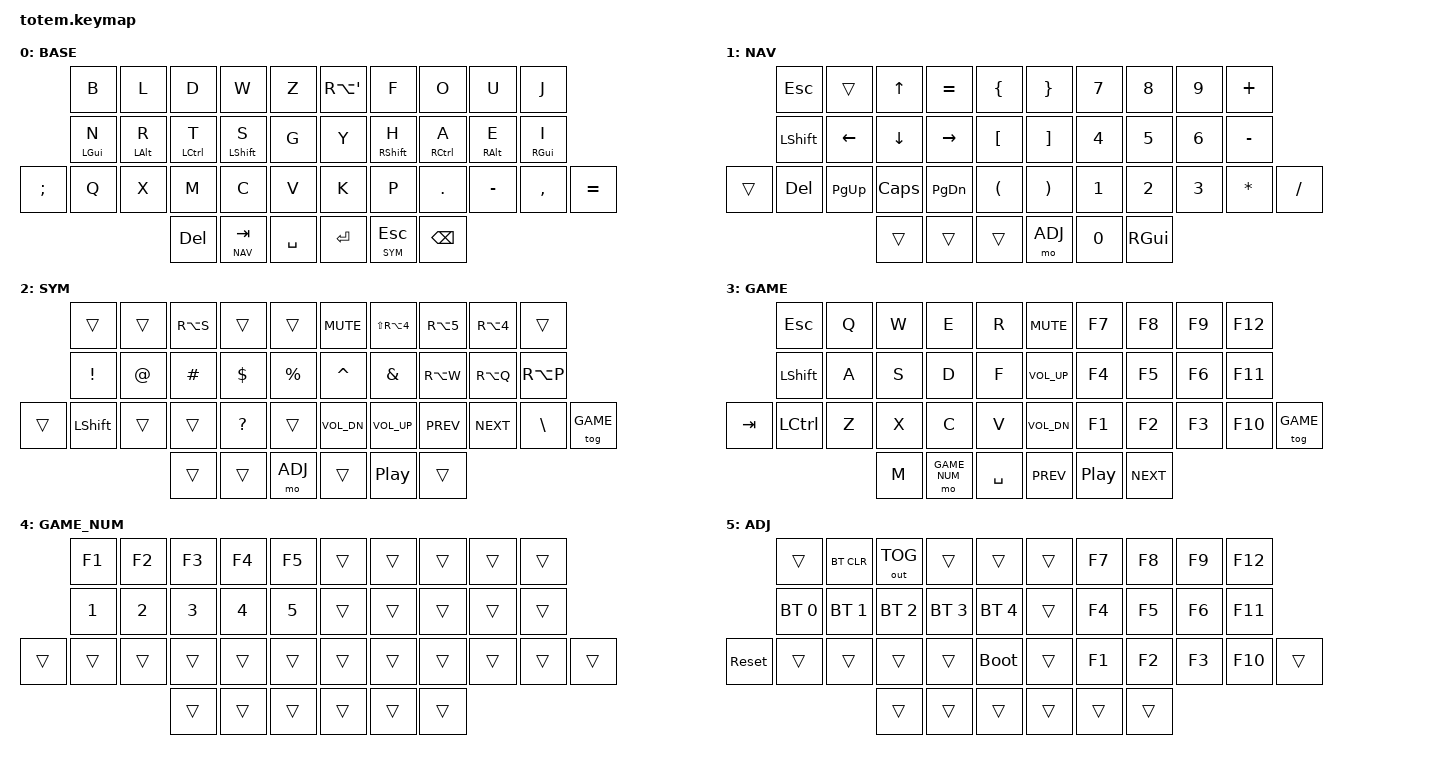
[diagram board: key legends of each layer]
//
//                                                        ▀▀▀▀▀     ▀▀▀▀▀          ▀▀█▀▀
//                                                        ▄▀▀▀▄  ▄  ▄▀▀▀▄  ▄  ▄▀▀▀▄  █  ▄▀▀▀▄
//                                                        █   █  █  █   █  █  █   █  █  █   █
//                                                         ▀▀▀   █   ▀▀▀   █   ▀▀▀   ▀   ▀▀▀
//                                                               █      ▄▄▄█▄▄▄    █   █  
//                                                               ▀      █  █  █     █▄█
//                                                             ▀▀▀▀▀    █  █  █      ▀
//                                                                      ▀  ▀  ▀
//
// ▄▄▄▄▄▄▄▄▄▄▄▄▄▄▄▄▄▄▄▄▄▄▄▄▄▄▄▄▄▄▄▄▄▄▄▄▄▄▄▄▄▄▄▄▄▄▄▄▄▄▄▄▄▄▄▄▄▄▄▄▄▄▄▄▄▄▄▄▄▄▄▄▄▄▄▄▄▄▄▄▄▄▄▄▄▄▄▄▄▄▄▄▄▄▄▄▄▄▄▄▄▄▄▄▄▄▄▄▄▄▄▄▄▄▄▄▄▄▄▄▄▄▄▄▄▄▄▄▄▄▄▄▄▄▄▄▄▄▄▄▄▄▄▄▄▄▄▄▄
       

#include <behaviors.dtsi>
#include <dt-bindings/zmk/keys.h>
#include <dt-bindings/zmk/bt.h>
#include <dt-bindings/zmk/outputs.h>

#define BASE 0
#define NAV  1
#define SYM  2
#define GAME 3
#define GAME_NUM 4
#define ADJ  5

&mt {
    quick-tap-ms = <100>;
    global-quick-tap;
    flavor = "tap-preferred";
    tapping-term-ms = <170>;
};

/ {
        keymap {
                compatible = "zmk,keymap";
// ▄▄▄▄▄▄▄▄▄▄▄▄▄▄▄▄▄▄▄▄▄▄▄▄▄▄▄▄▄▄▄▄▄▄▄▄▄▄▄▄▄▄▄▄▄▄▄▄▄▄▄▄▄▄▄▄▄▄▄▄▄▄▄▄▄▄▄▄▄▄▄▄▄▄▄▄▄▄▄▄▄▄▄▄▄▄▄▄▄▄▄▄▄▄▄▄▄▄▄▄▄▄▄▄▄▄▄▄▄▄▄▄▄▄▄▄▄▄▄▄▄▄▄▄▄▄▄▄▄▄▄▄▄▄▄▄▄▄▄▄▄▄▄▄▄▄▄▄▄

                base_layer {
                    // ┏━━━━━━━━━━━━━━━━━━━━━━━━━━━━━━━━━━━━━━━┓
                    display-name= "BASE";
                    // ┗━━━━━━━━━━━━━━━━━━━━━━━━━━━━━━━━━━━━━━━┛
/*
              ┏━━━━━━━━━━━┳━━━━━━━━━━━┳━━━━━━━━━━━┳━━━━━━━━━━━┳━━━━━━━━━━━┓   ┏━━━━━━━━━━━┳━━━━━━━━━━━┳━━━━━━━━━━━┳━━━━━━━━━━━┳━━━━━━━━━━━┓
              ┃     b     ┃     l     ┃     d     ┃     w     ┃    z      ┃   ┃   ' (")   ┃     f     ┃     o     ┃     u     ┃     j     ┃
              ┣━━━━━━━━━━━╋━━━━━━━━━━━╋━━━━━━━━━━━╋━━━━━━━━━━━╋━━━━━━━━━━━┫   ┣━━━━━━━━━━━╋━━━━━━━━━━━╋━━━━━━━━━━━╋━━━━━━━━━━━╋━━━━━━━━━━━┫
              ┃     n     ┃     r     ┃     t     ┃     s     ┃    g      ┃   ┃     y     ┃     h     ┃     a     ┃     e     ┃     i     ┃
  ┏━━━━━━━━━━━╋━━━━━━━━━━━╋━━━━━━━━━━━╋━━━━━━━━━━━╋━━━━━━━━━━━╋━━━━━━━━━━━┫   ┣━━━━━━━━━━━╋━━━━━━━━━━━╋━━━━━━━━━━━╋━━━━━━━━━━━╋━━━━━━━━━━━╋━━━━━━━━━━━┓
  ┃           ┃     q     ┃     x     ┃     m     ┃     c     ┃    v      ┃   ┃     k     ┃     p     ┃   . (>)   ┃   - (_)   ┃  , (<)    ┃     =     ┃
  ┗━━━━━━━━━━━┻━━━━━━━━━━━┻━━━━━━━━━━━╋━━━━━━━━━━━╋━━━━━━━━━━━╋━━━━━━━━━━━┫   ┣━━━━━━━━━━━╋━━━━━━━━━━━╋━━━━━━━━━━━╋━━━━━━━━━━━┻━━━━━━━━━━━┻━━━━━━━━━━━┛
                                      ┃           ┃           ┃           ┃   ┃           ┃           ┃           ┃
                                      ┗━━━━━━━━━━━┻━━━━━━━━━━━┻━━━━━━━━━━━┛   ┗━━━━━━━━━━━┻━━━━━━━━━━━┻━━━━━━━━━━━┛
*/
 bindings = <
// ╷           ╷           ╷           ╷           ╷           ╷           ╷   ╷           ╷           ╷           ╷           ╷           ╷           ╷

                &kp B       &kp L       &kp D       &kp W       &kp Z           &kp RA(SQT) &kp F       &kp O       &kp U       &kp J
                &mt LGUI N  &mt LALT R  &mt LCTRL T &mt LSHFT S &kp G           &kp Y       &mt RSHFT H &mt RCTRL A &mt RALT E  &mt RGUI I
  &kp SEMICOLON &kp Q       &kp X       &kp M       &kp C       &kp V           &kp K       &kp P       &kp DOT     &kp MINUS   &kp COMMA    &kp EQUAL
                                        &kp DEL   &lt NAV TAB   &kp SPACE       &kp RET     &lt SYM ESC &kp BSPC
                        >;
                };

// ▄▄▄▄▄▄▄▄▄▄▄▄▄▄▄▄▄▄▄▄▄▄▄▄▄▄▄▄▄▄▄▄▄▄▄▄▄▄▄▄▄▄▄▄▄▄▄▄▄▄▄▄▄▄▄▄▄▄▄▄▄▄▄▄▄▄▄▄▄▄▄▄▄▄▄▄▄▄▄▄▄▄▄▄▄▄▄▄▄▄▄▄▄▄▄▄▄▄▄▄▄▄▄▄▄▄▄▄▄▄▄▄▄▄▄▄▄▄▄▄▄▄▄▄▄▄▄▄▄▄▄▄▄▄▄▄▄▄▄▄▄▄▄▄▄▄▄▄▄

                nav_layer {
                    // ┏━━━━━━━━━━━━━━━━━━━━━━━━━━━━━━━━━━━━━━━┓
                    display-name= "NAV";
                    // ┗━━━━━━━━━━━━━━━━━━━━━━━━━━━━━━━━━━━━━━━┛
//             ┏━━━━━━━━━━━┳━━━━━━━━━━━┳━━━━━━━━━━━┳━━━━━━━━━━━┳━━━━━━━━━━━┓   ┏━━━━━━━━━━━┳━━━━━━━━━━━┳━━━━━━━━━━━┳━━━━━━━━━━━┳━━━━━━━━━━━┓
//             ┃           ┃           ┃     UP    ┃     =     ┃     {     ┃   ┃     }     ┃     7     ┃     8     ┃     9     ┃     +     ┃
//             ┣━━━━━━━━━━━╋━━━━━━━━━━━╋━━━━━━━━━━━╋━━━━━━━━━━━╋━━━━━━━━━━━┫   ┣━━━━━━━━━━━╋━━━━━━━━━━━╋━━━━━━━━━━━╋━━━━━━━━━━━╋━━━━━━━━━━━┫
//             ┃   SHIFT   ┃   LEFT    ┃    DOWN   ┃   RIGHT   ┃     [     ┃   ┃     ]     ┃     4     ┃     5     ┃     6     ┃     -     ┃
// ┏━━━━━━━━━━━╋━━━━━━━━━━━╋━━━━━━━━━━━╋━━━━━━━━━━━╋━━━━━━━━━━━╋━━━━━━━━━━━┫   ┣━━━━━━━━━━━╋━━━━━━━━━━━╋━━━━━━━━━━━╋━━━━━━━━━━━╋━━━━━━━━━━━╋━━━━━━━━━━━┓
// ┃           ┃           ┃   P UP    ┃  C LOCK   ┃  P DOWN   ┃     (     ┃   ┃     )     ┃     1     ┃     2     ┃     3     ┃     *     ┃     /     ┃
// ┗━━━━━━━━━━━┻━━━━━━━━━━━┻━━━━━━━━━━━╋━━━━━━━━━━━╋━━━━━━━━━━━╋━━━━━━━━━━━┫   ┣━━━━━━━━━━━╋━━━━━━━━━━━╋━━━━━━━━━━━╋━━━━━━━━━━━┻━━━━━━━━━━━┻━━━━━━━━━━━┛
//                                     ┃           ┃    TAB    ┃    SPC    ┃   ┃    DEL    ┃     0     ┃   super   ┃
//                                     ┗━━━━━━━━━━━┻━━━━━━━━━━━┻━━━━━━━━━━━┛   ┗━━━━━━━━━━━┻━━━━━━━━━━━┻━━━━━━━━━━━┛
 bindings = <
// ╷           ╷           ╷           ╷           ╷           ╷           ╷   ╷           ╷           ╷           ╷           ╷           ╷           ╷

                &kp ESC     &trans      &kp UP      &kp EQUAL   &kp LBRC        &kp RBRC    &kp N7   &kp N8   &kp N9   &kp PLUS
                &kp LSHFT   &kp LEFT    &kp DOWN    &kp RIGHT   &kp LBKT        &kp RBKT    &kp N4   &kp N5   &kp N6   &kp MINUS
    &trans      &kp DEL     &kp PG_UP   &kp CAPS    &kp PG_DN   &kp LPAR        &kp RPAR    &kp N1   &kp N2   &kp N3   &kp STAR      &kp FSLH      
                                        &trans      &trans      &trans          &mo ADJ     &kp N0   &kp RGUI      
                        >;
                };

// ▄▄▄▄▄▄▄▄▄▄▄▄▄▄▄▄▄▄▄▄▄▄▄▄▄▄▄▄▄▄▄▄▄▄▄▄▄▄▄▄▄▄▄▄▄▄▄▄▄▄▄▄▄▄▄▄▄▄▄▄▄▄▄▄▄▄▄▄▄▄▄▄▄▄▄▄▄▄▄▄▄▄▄▄▄▄▄▄▄▄▄▄▄▄▄▄▄▄▄▄▄▄▄▄▄▄▄▄▄▄▄▄▄▄▄▄▄▄▄▄▄▄▄▄▄▄▄▄▄▄▄▄▄▄▄▄▄▄▄▄▄▄▄▄▄▄▄▄▄

                sim_layer {
                    // ┏━━━━━━━━━━━━━━━━━━━━━━━━━━━━━━━━━━━━━━━┓
                    display-name= "SYM";
                    // ┗━━━━━━━━━━━━━━━━━━━━━━━━━━━━━━━━━━━━━━━┛
//             ┏━━━━━━━━━━━┳━━━━━━━━━━━┳━━━━━━━━━━━┳━━━━━━━━━━━┳━━━━━━━━━━━┓   ┏━━━━━━━━━━━┳━━━━━━━━━━━┳━━━━━━━━━━━┳━━━━━━━━━━━┳━━━━━━━━━━━┓
//             ┃           ┃           ┃    SZ     ┃           ┃           ┃   ┃   MUTE    ┃   YEN     ┃   EURO    ┃  POUND    ┃           ┃
//             ┣━━━━━━━━━━━╋━━━━━━━━━━━╋━━━━━━━━━━━╋━━━━━━━━━━━╋━━━━━━━━━━━┫   ┣━━━━━━━━━━━╋━━━━━━━━━━━╋━━━━━━━━━━━╋━━━━━━━━━━━╋━━━━━━━━━━━┫
//             ┃     !     ┃     @     ┃     #     ┃     $     ┃     %     ┃   ┃     ˆ     ┃     &     ┃     Å     ┃     Ä     ┃     Ö     ┃
// ┏━━━━━━━━━━━╋━━━━━━━━━━━╋━━━━━━━━━━━╋━━━━━━━━━━━╋━━━━━━━━━━━╋━━━━━━━━━━━┫   ┣━━━━━━━━━━━╋━━━━━━━━━━━╋━━━━━━━━━━━╋━━━━━━━━━━━╋━━━━━━━━━━━╋━━━━━━━━━━━┓
// ┃           ┃  EMAIL1   ┃  EMAIL2   ┃           ┃     ?     ┃           ┃   ┃   VOL-    ┃   VOL+    ┃   LAST    ┃   NEXT    ┃     \     ┃           ┃
// ┗━━━━━━━━━━━┻━━━━━━━━━━━┻━━━━━━━━━━━╋━━━━━━━━━━━╋━━━━━━━━━━━╋━━━━━━━━━━━┫   ┣━━━━━━━━━━━╋━━━━━━━━━━━╋━━━━━━━━━━━╋━━━━━━━━━━━┻━━━━━━━━━━━┻━━━━━━━━━━━┛
//                                     ┃           ┃           ┃    ADJ    ┃   ┃           ┃           ┃           ┃
//                                     ┗━━━━━━━━━━━┻━━━━━━━━━━━┻━━━━━━━━━━━┛   ┗━━━━━━━━━━━┻━━━━━━━━━━━┻━━━━━━━━━━━┛
 bindings = <
// ╷           ╷           ╷           ╷           ╷           ╷           ╷   ╷           ╷           ╷           ╷           ╷           ╷           ╷
                &trans      &trans      &kp RA(S)   &trans      &trans          &kp C_MUTE   &kp LS(RA(N4)) &kp RA(N5) &kp RA(N4) &trans 
                &kp EXCL    &kp AT      &kp HASH    &kp DLLR    &kp PRCNT       &kp CARET    &kp AMPS     &kp RA(W)  &kp RA(Q)   &kp RA(P)       
    &trans      &kp LSHFT   &trans      &trans      &kp QMARK   &trans          &kp C_VOL_DN &kp C_VOL_UP &kp C_PREV &kp C_NEXT  &kp BSLH   &tog GAME         
                                        &trans      &trans      &mo ADJ         &trans      &kp C_PP    &trans      
                        >;
                };

// ▄▄▄▄▄▄▄▄▄▄▄▄▄▄▄▄▄▄▄▄▄▄▄▄▄▄▄▄▄▄▄▄▄▄▄▄▄▄▄▄▄▄▄▄▄▄▄▄▄▄▄▄▄▄▄▄▄▄▄▄▄▄▄▄▄▄▄▄▄▄▄▄▄▄▄▄▄▄▄▄▄▄▄▄▄▄▄▄▄▄▄▄▄▄▄▄▄▄▄▄▄▄▄▄▄▄▄▄▄▄▄▄▄▄▄▄▄▄▄▄▄▄▄▄▄▄▄▄▄▄▄▄▄▄▄▄▄▄▄▄▄▄▄▄▄▄▄▄▄

                game_layer {
                    // ┏━━━━━━━━━━━━━━━━━━━━━━━━━━━━━━━━━━━━━━━┓
                    display-name= "GAME";
                    // ┗━━━━━━━━━━━━━━━━━━━━━━━━━━━━━━━━━━━━━━━┛
 bindings = <
// ╷           ╷           ╷           ╷           ╷           ╷           ╷   ╷           ╷           ╷           ╷           ╷           ╷           ╷

                &kp ESC     &kp Q       &kp W       &kp E       &kp R           &kp C_MUTE   &kp F7      &kp F8      &kp F9      &kp F12
                &kp LSHFT   &kp A       &kp S       &kp D       &kp F           &kp C_VOL_UP &kp F4      &kp F5      &kp F6      &kp F11
    &kp TAB     &kp LCTRL   &kp Z       &kp X       &kp C       &kp V           &kp C_VOL_DN &kp F1      &kp F2      &kp F3      &kp F10     &tog GAME      
                                        &kp M      &mo GAME_NUM &kp SPACE       &kp C_PREV   &kp C_PP    &kp C_NEXT      
                        >;
                };

// ▄▄▄▄▄▄▄▄▄▄▄▄▄▄▄▄▄▄▄▄▄▄▄▄▄▄▄▄▄▄▄▄▄▄▄▄▄▄▄▄▄▄▄▄▄▄▄▄▄▄▄▄▄▄▄▄▄▄▄▄▄▄▄▄▄▄▄▄▄▄▄▄▄▄▄▄▄▄▄▄▄▄▄▄▄▄▄▄▄▄▄▄▄▄▄▄▄▄▄▄▄▄▄▄▄▄▄▄▄▄▄▄▄▄▄▄▄▄▄▄▄▄▄▄▄▄▄▄▄▄▄▄▄▄▄▄▄▄▄▄▄▄▄▄▄▄▄▄▄

                game_num_layer {
                    // ┏━━━━━━━━━━━━━━━━━━━━━━━━━━━━━━━━━━━━━━━┓
                    display-name= "GAME_NUM";
                    // ┗━━━━━━━━━━━━━━━━━━━━━━━━━━━━━━━━━━━━━━━┛
 bindings = <
// ╷           ╷           ╷           ╷           ╷           ╷           ╷   ╷           ╷           ╷           ╷           ╷           ╷           ╷

                &kp F1      &kp F2      &kp F3      &kp F4      &kp F5          &trans      &trans      &trans      &trans      &trans
                &kp N1      &kp N2      &kp N3      &kp N4      &kp N5          &trans      &trans      &trans      &trans      &trans  
    &trans      &trans      &trans      &trans      &trans      &trans          &trans      &trans      &trans      &trans      &trans     &trans         
                                        &trans      &trans      &trans          &trans      &trans      &trans      
                        >;
                };

// ▄▄▄▄▄▄▄▄▄▄▄▄▄▄▄▄▄▄▄▄▄▄▄▄▄▄▄▄▄▄▄▄▄▄▄▄▄▄▄▄▄▄▄▄▄▄▄▄▄▄▄▄▄▄▄▄▄▄▄▄▄▄▄▄▄▄▄▄▄▄▄▄▄▄▄▄▄▄▄▄▄▄▄▄▄▄▄▄▄▄▄▄▄▄▄▄▄▄▄▄▄▄▄▄▄▄▄▄▄▄▄▄▄▄▄▄▄▄▄▄▄▄▄▄▄▄▄▄▄▄▄▄▄▄▄▄▄▄▄▄▄▄▄▄▄▄▄▄▄
// ▄▄▄▄▄▄▄▄▄▄▄▄▄▄▄▄▄▄▄▄▄▄▄▄▄▄▄▄▄▄▄▄▄▄▄▄▄▄▄▄▄▄▄▄▄▄▄▄▄▄▄▄▄▄▄▄▄▄▄▄▄▄▄▄▄▄▄▄▄▄▄▄▄▄▄▄▄▄▄▄▄▄▄▄▄▄▄▄▄▄▄▄▄▄▄▄▄▄▄▄▄▄▄▄▄▄▄▄▄▄▄▄▄▄▄▄▄▄▄▄▄▄▄▄▄▄▄▄▄▄▄▄▄▄▄▄▄▄▄▄▄▄▄▄▄▄▄▄▄


                adjust_layer {
                    // ┏━━━━━━━━━━━━━━━━━━━━━━━━━━━━━━━━━━━━━━━┓
                    display-name= "ADJ";
                    // ┗━━━━━━━━━━━━━━━━━━━━━━━━━━━━━━━━━━━━━━━┛
//             ┏━━━━━━━━━━━┳━━━━━━━━━━━┳━━━━━━━━━━━┳━━━━━━━━━━━┳━━━━━━━━━━━┓   ┏━━━━━━━━━━━┳━━━━━━━━━━━┳━━━━━━━━━━━┳━━━━━━━━━━━┳━━━━━━━━━━━┓
//             ┃   RESET   ┃ BT CLEAR  ┃  OUT TOG  ┃           ┃           ┃   ┃           ┃    F7     ┃    F8     ┃    F9     ┃    F12    ┃
//             ┣━━━━━━━━━━━╋━━━━━━━━━━━╋━━━━━━━━━━━╋━━━━━━━━━━━╋━━━━━━━━━━━┫   ┣━━━━━━━━━━━╋━━━━━━━━━━━╋━━━━━━━━━━━╋━━━━━━━━━━━╋━━━━━━━━━━━┫
//             ┃ BOOTLOAD  ┃ BT NEXT   ┃           ┃           ┃           ┃   ┃           ┃    F4     ┃    F5     ┃    F6     ┃    F11    ┃
// ┏━━━━━━━━━━━╋━━━━━━━━━━━╋━━━━━━━━━━━╋━━━━━━━━━━━╋━━━━━━━━━━━╋━━━━━━━━━━━┫   ┣━━━━━━━━━━━╋━━━━━━━━━━━╋━━━━━━━━━━━╋━━━━━━━━━━━╋━━━━━━━━━━━╋━━━━━━━━━━━┓
// ┃           ┃           ┃ BT PREV   ┃           ┃           ┃           ┃   ┃           ┃    F1     ┃    F2     ┃    F3     ┃    F10    ┃           ┃
// ┗━━━━━━━━━━━┻━━━━━━━━━━━┻━━━━━━━━━━━╋━━━━━━━━━━━╋━━━━━━━━━━━╋━━━━━━━━━━━┫   ┣━━━━━━━━━━━╋━━━━━━━━━━━╋━━━━━━━━━━━╋━━━━━━━━━━━┻━━━━━━━━━━━┻━━━━━━━━━━━┛
//                                     ┃           ┃           ┃           ┃   ┃           ┃           ┃           ┃
//                                     ┗━━━━━━━━━━━┻━━━━━━━━━━━┻━━━━━━━━━━━┛   ┗━━━━━━━━━━━┻━━━━━━━━━━━┻━━━━━━━━━━━┛
 bindings = <
// ╷           ╷           ╷           ╷           ╷           ╷           ╷   ╷           ╷           ╷           ╷           ╷           ╷           ╷

                &trans      &bt BT_CLR &out OUT_TOG &trans      &trans          &trans      &kp F7      &kp F8      &kp F9      &kp F12
              &bt BT_SEL 0 &bt BT_SEL 1 &bt BT_SEL 2 &bt BT_SEL 3 &bt BT_SEL 4  &trans      &kp F4      &kp F5      &kp F6      &kp F11  
    &sys_reset  &trans      &trans      &trans      &trans      &bootloader     &trans      &kp F1      &kp F2      &kp F3      &kp F10     &trans         
                                        &trans      &trans      &trans          &trans      &trans      &trans      
                        >;
                };
        };
};
